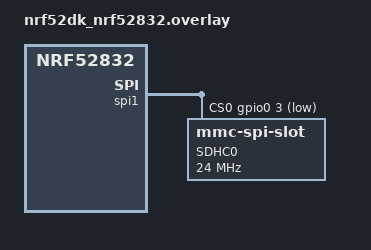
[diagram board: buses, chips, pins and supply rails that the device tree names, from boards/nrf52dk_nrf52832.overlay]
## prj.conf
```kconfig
CONFIG_DISK_ACCESS=y
CONFIG_LOG=y
CONFIG_FILE_SYSTEM=y
CONFIG_FAT_FILESYSTEM_ELM=y
CONFIG_PRINTK=y
CONFIG_MAIN_STACK_SIZE=2048

CONFIG_DISK_DRIVER_SDMMC=y
CONFIG_GPIO=y
CONFIG_SPI=y

CONFIG_BT=y
CONFIG_BT_DEBUG_LOG=y
CONFIG_BT_CENTRAL=y
CONFIG_BT_SMP=y
CONFIG_BT_GATT_CLIENT=y
```

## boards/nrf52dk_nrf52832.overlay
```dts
/*
 * Copyright (c) 2019 Tavish Naruka <tavishnaruka@gmail.com>
 *
 * SPDX-License-Identifier: Apache-2.0
 */

&spi1 {
        status = "okay";
        cs-gpios = <&gpio0 3 GPIO_ACTIVE_LOW>;

        sdhc0: sdhc@0 {
                compatible = "zephyr,mmc-spi-slot";
                reg = <0>;
                status = "okay";
                label = "SDHC0";
                spi-max-frequency = <24000000>;
        };
};
```

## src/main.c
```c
/* main.c - Application main entry point */

/*
 * Copyright (c) 2015-2016 Intel Corporation
 *
 * SPDX-License-Identifier: Apache-2.0
 */

#include <zephyr/types.h>
#include <stddef.h>
#include <errno.h>
#include <zephyr.h>
#include <sys/printk.h>

#include <device.h>
#include <drivers/gpio.h>
#include <storage/disk_access.h>
#include <logging/log.h>
#include <fs/fs.h>
#include <ff.h>

#include <bluetooth/bluetooth.h>
#include <bluetooth/hci.h>
#include <bluetooth/conn.h>
#include <bluetooth/uuid.h>
#include <bluetooth/gatt.h>
#include <sys/byteorder.h>

#include <stdio.h>

// Enable this if you want output on the serial bus
#define DEBUG false

#define BUT1_NODE   DT_NODELABEL(button0)
#define BUT2_NODE   DT_NODELABEL(button1)

static const struct gpio_dt_spec start_pb = GPIO_DT_SPEC_GET_OR(BUT1_NODE, gpios,
                                  {0});

static const struct gpio_dt_spec stop_pb = GPIO_DT_SPEC_GET_OR(BUT2_NODE, gpios,
                                  {0});

static struct gpio_dt_spec led = GPIO_DT_SPEC_GET_OR(DT_NODELABEL(led1), gpios,
						     {0});

static void start_scan(void);

LOG_MODULE_REGISTER(main);

static FATFS fat_fs;
/* mounting info */
static struct fs_mount_t mp = {
    .type = FS_FATFS,
    .fs_data = &fat_fs,
};

struct fs_file_t filep;
char buf[512];

/*
*  Note the fatfs library is able to mount only strings inside _VOLUME_STRS
*  in ffconf.h
*/
static const char *disk_mount_pt = "/SD:";

static void device_found(const bt_addr_le_t *addr, int8_t rssi, uint8_t type,
             struct net_buf_simple *ad)
{
    char dev[BT_ADDR_LE_STR_LEN];
    uint32_t t = k_uptime_get_32();

    bt_addr_le_to_str(addr, dev, sizeof(dev));

    if(DEBUG)
        printk("t(ms): %d [DEVICE]: %s, AD evt type %u, AD data len %u, RSSI %i\n",
        t, dev, type, ad->len, rssi);

    size_t len = sprintf(buf, "t(ms): %d [DEVICE]: %s, AD evt type %u, \
        AD data len %u, RSSI %i\n", t, dev, type, ad->len, rssi);
    fs_write(&filep, buf, len);

    k_msleep(1000);
	if(gpio_pin_get_dt(&stop_pb))
    {
        printk("Shutting Down \n"); 
        len = sprintf(buf, "Shutting Down \n"); 
        fs_write(&filep, buf, len);

        fs_close(&filep);
        fs_unmount(&mp);
        k_msleep(1000);
	    gpio_pin_set_dt(&led, true);
        while(true){};
    };
}

static void start_scan(void)
{
    int err;

    /* Use active scanning and disable duplicate filtering to handle any
     * devices that might update their advertising data at runtime. */
    struct bt_le_scan_param scan_param = {
        .type       = BT_LE_SCAN_TYPE_ACTIVE,
        .options    = BT_LE_SCAN_OPT_NONE,
        .interval   = BT_GAP_SCAN_FAST_INTERVAL,
        .window     = BT_GAP_SCAN_FAST_WINDOW,
    };

    err = bt_le_scan_start(&scan_param, device_found);
    if (err) {
        printk("Scanning failed to start (err %d)\n", err);
        return;
    }

    printk("Scanning successfully started\n");
}

static struct bt_conn_cb conn_callbacks = {
    .connected = NULL,
    .disconnected = NULL,
};

void main(void)
{
    int err;
    
    gpio_pin_configure_dt(&start_pb, GPIO_INPUT);
    gpio_pin_configure_dt(&stop_pb, GPIO_INPUT);
	gpio_pin_configure_dt(&led, GPIO_OUTPUT);

	gpio_pin_set_dt(&led, true);
	while(!gpio_pin_get_dt(&start_pb)){};
	gpio_pin_set_dt(&led, false);

    /* raw disk i/o */
    do {
        static const char *disk_pdrv = "SD";
        uint64_t memory_size_mb;
        uint32_t block_count;
        uint32_t block_size;

        if (disk_access_init(disk_pdrv) != 0) {
            LOG_ERR("Storage init ERROR!");
            break;
        }

        if (disk_access_ioctl(disk_pdrv,
                DISK_IOCTL_GET_SECTOR_COUNT, &block_count)) {
            LOG_ERR("Unable to get sector count");
            break;
        }
        LOG_INF("Block count %u", block_count);

        if (disk_access_ioctl(disk_pdrv,
                DISK_IOCTL_GET_SECTOR_SIZE, &block_size)) {
            LOG_ERR("Unable to get sector size");
            break;
        }
        printk("Sector size %u\n", block_size);

        memory_size_mb = (uint64_t)block_count * block_size;
        printk("Memory Size(MB) %u\n", (uint32_t)(memory_size_mb >> 20));
    } while (0);

    mp.mnt_point = disk_mount_pt;

    int res = fs_mount(&mp);

    if (res == FR_OK) {
        printk("Disk mounted.\n");
    } else {
        printk("Error mounting disk.\n");
        while(1){};
    }
    
    fs_file_t_init(&filep);
    fs_open(&filep, "/SD:/fname.txt", (FS_O_CREATE | FS_O_WRITE | FS_O_APPEND));

    size_t len = sprintf(buf, "Starting Up\n-----------\n"); 
    fs_write(&filep, buf, len);

    err = bt_enable(NULL);

    if (err) {
        printk("Bluetooth init failed (err %d)\n", err);
        return;
    }

    printk("Bluetooth initialized\n");

    bt_conn_cb_register(&conn_callbacks);

    start_scan();
}
```
